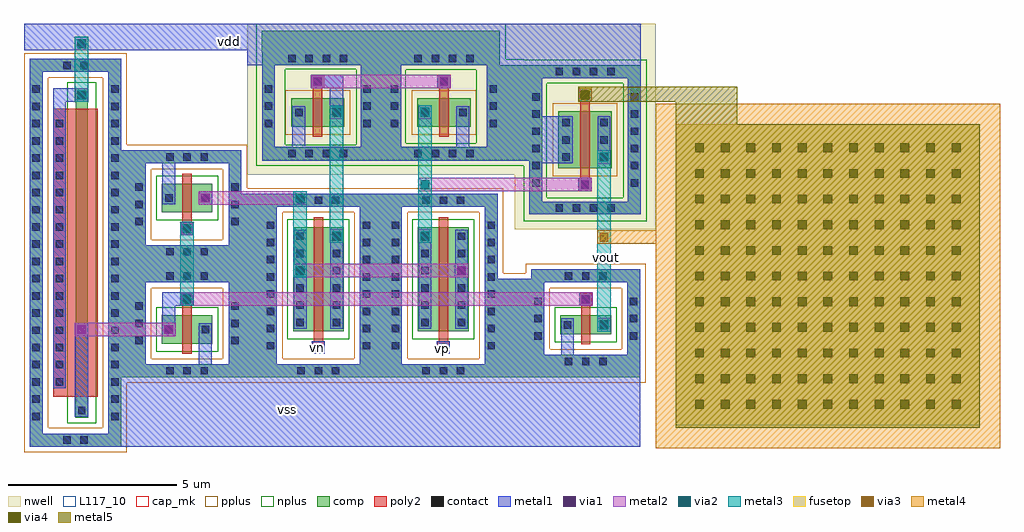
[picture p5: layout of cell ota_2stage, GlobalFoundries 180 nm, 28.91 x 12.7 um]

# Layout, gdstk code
from math import pi, radians
import gdstk
lib = gdstk.Library(unit=1e-6, precision=5e-09)
def R(c, l, rs):  # rectangles x0, y0, x1, y1
    for r in rs: c.add(gdstk.rectangle(r[:2], r[2:], *l))
def A(c, l, x, y, w, h, nx, ny, dx, dy):  # array of equal rectangles
    R(c, l, [(x+i*dx, y+j*dy, x+i*dx+w, y+j*dy+h) for i in range(nx) for j in range(ny)])
def P(c, l, *ps):  # polygons
    for p in ps: c.add(gdstk.Polygon(p, *l))
nwell = (21, 0)
comp = (22, 0)
poly2 = (30, 0)
pplus = (31, 0)
nplus = (32, 0)
contact = (33, 0)
metal1 = (34, 0)
via1 = (35, 0)
metal2 = (36, 0)
via2 = (38, 0)
via3 = (40, 0)
via4 = (41, 0)
metal3 = (42, 0)
metal4 = (46, 0)
fusetop = (75, 0)
metal5 = (81, 0)
cap_mk = (117, 5)
L117_10 = (117, 10)

nfet_26 = lib.new_cell('nfet$26')
R(nfet_26, comp, [(-0.42,-0.01,0,0.37), (8.92,-0.01,9.34,0.37), (0,0,8.92,0.36)])
P(nfet_26, comp, [(-1.28,-0.99),(-1.28,1.34),(-0.9,1.34),(-0.9,-0.61),(9.82,-0.61),(9.82,1.34),(-1.28,1.34),(-1.28,1.72),(10.2,1.72),(10.2,-0.99)])
R(nfet_26, poly2, [(0.19,-0.3,8.73,0.66), (0.19,0.66,8.73,1.02)])
P(nfet_26, pplus, [(-1.45,-1.16),(-1.45,1.17),(-0.73,1.17),(-0.73,-0.44),(9.65,-0.44),(9.65,1.17),(-1.45,1.17),(-1.45,1.89),(10.37,1.89),(10.37,-1.16)])
R(nfet_26, nplus, [(-0.59,-0.25,9.51,0.61)])
A(nfet_26, contact, -0.495, -0.91, 0.22, 0.22, 20, 2, 0.51, 2.33)
A(nfet_26, contact, 0.525, 0.73, 0.22, 0.22, 16, 1, 0.51, 0)
R(nfet_26, contact, [(-1.2,0,-0.98,0.22), (9.9,0,10.12,0.22), (-0.32,0.07,-0.1,0.29), (9.02,0.07,9.24,0.29), (-1.2,0.51,-0.98,0.73), (9.9,0.51,10.12,0.73)])
R(nfet_26, metal1, [(-0.4,-0.01,-0.02,0.37), (8.94,-0.01,9.32,0.37), (0.445,0.65,8.475,1.03)])

via_dev_77 = lib.new_cell('via_dev$77')
R(via_dev_77, metal1, [(0,0,0.4,0.4)])
R(via_dev_77, via1, [(0.07,0.07,0.33,0.33)])
R(via_dev_77, metal2, [(0,0,0.4,0.4)])
R(via_dev_77, via2, [(0.07,0.07,0.33,0.33)])
R(via_dev_77, metal3, [(0,0,0.4,0.4)])

via_dev_78 = lib.new_cell('via_dev$78')
R(via_dev_78, metal1, [(0,0,0.4,0.4)])
R(via_dev_78, via1, [(0.07,0.07,0.33,0.33)])
R(via_dev_78, metal2, [(0,0,0.4,0.4)])

nfet_27 = lib.new_cell('nfet$27')
R(nfet_27, comp, [(-0.42,0,0,3.08), (0,0,0.66,3.08), (0.66,0,1.08,3.08)])
P(nfet_27, comp, [(-1.28,-1.36),(-1.28,3.69),(-0.9,3.69),(-0.9,-0.98),(1.56,-0.98),(1.56,3.69),(-1.28,3.69),(-1.28,4.07),(1.94,4.07),(1.94,-1.36)])
R(nfet_27, poly2, [(0.15,-0.66,0.51,-0.3), (0.19,-0.3,0.47,3.38)])
P(nfet_27, pplus, [(-1.45,-1.53),(-1.45,3.52),(-0.73,3.52),(-0.73,-0.81),(1.39,-0.81),(1.39,3.52),(-1.45,3.52),(-1.45,4.24),(2.11,4.24),(2.11,-1.53)])
R(nfet_27, nplus, [(-0.59,-0.24,1.25,3.32)])
A(nfet_27, contact, -0.29, -1.28, 0.22, 0.22, 3, 2, 0.51, 5.05)
A(nfet_27, contact, -1.2, -0.54, 0.22, 0.22, 1, 8, 0, 0.51)
A(nfet_27, contact, 1.64, -0.54, 0.22, 0.22, 1, 8, 0, 0.51)
A(nfet_27, contact, -0.32, 0.155, 0.22, 0.22, 1, 6, 0, 0.51)
A(nfet_27, contact, 0.76, 0.155, 0.22, 0.22, 1, 6, 0, 0.51)
R(nfet_27, contact, [(0.22,-0.59,0.44,-0.37)])
R(nfet_27, metal1, [(0.14,-0.67,0.52,-0.29), (-0.4,0.075,-0.02,3.005), (0.68,0.075,1.06,3.005)])

nfet_28 = lib.new_cell('nfet$28')
R(nfet_28, comp, [(-0.42,0,0,0.84), (0,0,0.66,0.84), (0.66,0,1.08,0.84)])
P(nfet_28, comp, [(-1.28,-1.36),(-1.28,1.45),(-0.9,1.45),(-0.9,-0.98),(1.56,-0.98),(1.56,1.45),(-1.28,1.45),(-1.28,1.83),(1.94,1.83),(1.94,-1.36)])
R(nfet_28, poly2, [(0.15,-0.66,0.51,-0.3), (0.19,-0.3,0.47,1.14)])
P(nfet_28, pplus, [(-1.45,-1.53),(-1.45,1.28),(-0.73,1.28),(-0.73,-0.81),(1.39,-0.81),(1.39,1.28),(-1.45,1.28),(-1.45,2),(2.11,2),(2.11,-1.53)])
R(nfet_28, nplus, [(-0.59,-0.24,1.25,1.08)])
A(nfet_28, contact, -0.29, -1.28, 0.22, 0.22, 3, 2, 0.51, 2.81)
A(nfet_28, contact, -1.2, -0.385, 0.22, 0.22, 1, 3, 0, 0.51)
A(nfet_28, contact, 1.64, -0.385, 0.22, 0.22, 1, 3, 0, 0.51)
R(nfet_28, contact, [(0.22,-0.59,0.44,-0.37), (-0.32,0.31,-0.1,0.53), (0.76,0.31,0.98,0.53)])
R(nfet_28, metal1, [(0.14,-0.67,0.52,-0.29), (-0.4,0.23,-0.02,0.61), (0.68,0.23,1.06,0.61)])

nfet_29 = lib.new_cell('nfet$29')
R(nfet_29, comp, [(-0.42,0,0,0.84), (0,0,0.66,0.84), (0.66,0,1.08,0.84)])
P(nfet_29, comp, [(-1.28,-0.99),(-1.28,1.82),(-0.9,1.82),(-0.9,-0.61),(1.56,-0.61),(1.56,1.82),(-1.28,1.82),(-1.28,2.2),(1.94,2.2),(1.94,-0.99)])
R(nfet_29, poly2, [(0.19,-0.3,0.47,1.14), (0.15,1.14,0.51,1.5)])
P(nfet_29, pplus, [(-1.45,-1.16),(-1.45,1.65),(-0.73,1.65),(-0.73,-0.44),(1.39,-0.44),(1.39,1.65),(-1.45,1.65),(-1.45,2.37),(2.11,2.37),(2.11,-1.16)])
R(nfet_29, nplus, [(-0.59,-0.24,1.25,1.08)])
A(nfet_29, contact, -0.29, -0.91, 0.22, 0.22, 3, 2, 0.51, 2.81)
A(nfet_29, contact, -1.2, -0.015, 0.22, 0.22, 1, 3, 0, 0.51)
A(nfet_29, contact, 1.64, -0.015, 0.22, 0.22, 1, 3, 0, 0.51)
R(nfet_29, contact, [(-0.32,0.31,-0.1,0.53), (0.76,0.31,0.98,0.53), (0.22,1.21,0.44,1.43)])
R(nfet_29, metal1, [(-0.4,0.23,-0.02,0.61), (0.68,0.23,1.06,0.61), (0.14,1.13,0.52,1.51)])

via_dev_79 = lib.new_cell('via_dev$79')
R(via_dev_79, metal2, [(0,0,0.4,0.4)])
R(via_dev_79, via2, [(0.07,0.07,0.33,0.33)])
R(via_dev_79, metal3, [(0,0,0.4,0.4)])

pfet_16 = lib.new_cell('pfet$16')
R(pfet_16, nwell, [(-1.76,-1.43,2.42,2.65)])
R(pfet_16, comp, [(-0.46,0,0,0.84), (0,0,0.66,0.84), (0.66,0,1.12,0.84)])
P(pfet_16, comp, [(-1.32,-0.99),(-1.32,1.83),(-0.94,1.83),(-0.94,-0.61),(1.6,-0.61),(1.6,1.83),(-1.32,1.83),(-1.32,2.21),(1.98,2.21),(1.98,-0.99)])
R(pfet_16, poly2, [(0.19,-0.3,0.47,1.14), (0.14,1.14,0.52,1.52)])
R(pfet_16, pplus, [(-0.63,-0.24,1.29,1.08)])
A(pfet_16, contact, -0.545, -0.91, 0.22, 0.22, 4, 2, 0.51, 2.82)
A(pfet_16, contact, -1.24, -0.01, 0.22, 0.22, 1, 3, 0, 0.51)
A(pfet_16, contact, 1.68, -0.01, 0.22, 0.22, 1, 3, 0, 0.51)
R(pfet_16, contact, [(-0.34,0.31,-0.12,0.53), (0.78,0.31,1,0.53), (0.22,1.22,0.44,1.44)])
R(pfet_16, metal1, [(-0.42,0.23,-0.04,0.61), (0.7,0.23,1.08,0.61), (0.14,1.14,0.52,1.52)])

pfet_17 = lib.new_cell('pfet$17')
R(pfet_17, nwell, [(-1.76,-1.81,2.42,3.49)])
R(pfet_17, comp, [(-0.46,0,0,1.68), (0,0,0.66,1.68), (0.66,0,1.12,1.68)])
P(pfet_17, comp, [(-1.32,-1.37),(-1.32,2.67),(-0.94,2.67),(-0.94,-0.99),(1.6,-0.99),(1.6,2.67),(-1.32,2.67),(-1.32,3.05),(1.98,3.05),(1.98,-1.37)])
R(pfet_17, poly2, [(0.14,-0.68,0.52,-0.3), (0.19,-0.3,0.47,1.98), (0.14,1.98,0.52,2.36)])
R(pfet_17, pplus, [(-0.63,-0.24,1.29,1.92)])
A(pfet_17, contact, -0.545, -1.29, 0.22, 0.22, 4, 2, 0.51, 4.04)
A(pfet_17, contact, -1.24, -0.545, 0.22, 0.22, 1, 6, 0, 0.51)
A(pfet_17, contact, 1.68, -0.545, 0.22, 0.22, 1, 6, 0, 0.51)
A(pfet_17, contact, -0.34, 0.22, 0.22, 0.22, 1, 3, 0, 0.51)
A(pfet_17, contact, 0.78, 0.22, 0.22, 0.22, 1, 3, 0, 0.51)
R(pfet_17, contact, [(0.22,-0.6,0.44,-0.38), (0.22,2.06,0.44,2.28)])
R(pfet_17, metal1, [(0.14,-0.68,0.52,-0.3), (-0.42,0.14,-0.04,1.54), (0.7,0.14,1.08,1.54), (0.14,1.98,0.52,2.36)])

nfet_30 = lib.new_cell('nfet$30')
R(nfet_30, comp, [(-0.42,0,0,0.56), (0,0,0.66,0.56), (0.66,0,1.08,0.56)])
P(nfet_30, comp, [(-1.28,-0.99),(-1.28,1.54),(-0.9,1.54),(-0.9,-0.61),(1.56,-0.61),(1.56,1.54),(-1.28,1.54),(-1.28,1.92),(1.94,1.92),(1.94,-0.99)])
R(nfet_30, poly2, [(0.19,-0.3,0.47,0.86), (0.15,0.86,0.51,1.22)])
P(nfet_30, pplus, [(-1.45,-1.16),(-1.45,1.37),(-0.73,1.37),(-0.73,-0.44),(1.39,-0.44),(1.39,1.37),(-1.45,1.37),(-1.45,2.09),(2.11,2.09),(2.11,-1.16)])
R(nfet_30, nplus, [(-0.59,-0.24,1.25,0.8)])
A(nfet_30, contact, -0.29, -0.91, 0.22, 0.22, 3, 2, 0.51, 2.53)
A(nfet_30, contact, -1.2, -0.155, 0.22, 0.22, 1, 3, 0, 0.51)
A(nfet_30, contact, 1.64, -0.155, 0.22, 0.22, 1, 3, 0, 0.51)
R(nfet_30, contact, [(-0.32,0.17,-0.1,0.39), (0.76,0.17,0.98,0.39), (0.22,0.93,0.44,1.15)])
R(nfet_30, metal1, [(-0.4,0.09,-0.02,0.47), (0.68,0.09,1.06,0.47), (0.14,0.85,0.52,1.23)])

cap_mim_1 = lib.new_cell('cap_mim$1')
A(cap_mim_1, via4, 0.57, 0.57, 0.26, 0.26, 11, 11, 0.76, 0.76)
R(cap_mim_1, metal4, [(-0.6,-0.6,9.6,9.6)])
R(cap_mim_1, fusetop, [(0,0,9,9)])
R(cap_mim_1, metal5, [(0,0,9,9)])
R(cap_mim_1, cap_mk, [(-0.6,-0.6,9.6,9.6)])
R(cap_mim_1, L117_10, [(0,0,9,0.1)])

via_dev_80 = lib.new_cell('via_dev$80')
R(via_dev_80, metal1, [(0,0,0.4,0.4)])
R(via_dev_80, via1, [(0.07,0.07,0.33,0.33)])
R(via_dev_80, metal2, [(0,0,0.4,0.4)])
R(via_dev_80, via2, [(0.07,0.07,0.33,0.33)])
R(via_dev_80, via3, [(0.07,0.07,0.33,0.33)])
R(via_dev_80, via4, [(0.07,0.07,0.33,0.33)])
R(via_dev_80, metal3, [(0,0,0.4,0.4)])
R(via_dev_80, metal4, [(0,0,0.4,0.4)])
R(via_dev_80, metal5, [(0,0,0.4,0.4)])

via_dev_81 = lib.new_cell('via_dev$81')
R(via_dev_81, via3, [(0.07,0.07,0.33,0.33)])
R(via_dev_81, metal3, [(0,0,0.4,0.4)])
R(via_dev_81, metal4, [(0,0,0.4,0.4)])

ota_2stage = lib.new_cell('ota_2stage')
R(ota_2stage, nwell, [(3.9,6.43,7.64,6.855), (7.64,6.435,8.08,7.225)])
P(ota_2stage, nwell, [(3.58,2.745),(3.58,6.825),(-4.02,6.825),(-4.02,7.225),(7.64,7.225),(7.64,6.825),(3.7,6.825),(3.7,2.745)])
R(ota_2stage, comp, [(-7.75,-3.245,-7.41,3.47), (-4.19,-3.245,-3.52,2.185), (-0.3,-3.245,0.18,2.185), (3.4,-3.245,4.4,-0.335), (4.4,-3.245,7.62,-2.965), (-7.41,-0.055,-4.19,0.28), (3.46,3.185,4.34,5.995), (-0.28,3.195,0.16,6.395), (-3.58,6.3,3.46,6.715)])
P(ota_2stage, comp, [(-0.28,3.18),(-0.28,6.385),(-3.59,6.385),(-3.59,7.015),(3.46,7.015),(3.46,6.385),(0.4,6.385),(0.4,3.635),(0.44,3.635),(0.44,3.325),(3.46,3.325),(3.46,3.18)])
R(ota_2stage, pplus, [(-4.02,-3.415,-3.69,2.355), (-0.13,-3.415,0.01,2.355), (3.57,-3.415,4.23,-0.165), (4.23,-3.415,7.79,-3.135)])
R(ota_2stage, nplus, [(3.63,3.015,4.17,6.165)])
P(ota_2stage, nplus, [(-3.75,3.015),(-3.75,5.875),(-2.89,5.875),(-2.89,3.635),(-0.795,3.635),(-0.795,5.855),(0.675,5.855),(0.675,3.68),(2.77,3.68),(2.77,5.855),(-0.795,5.855),(-0.795,5.875),(-3.75,5.875),(-3.75,7.225),(3.635,7.225),(3.635,3.015)],
  [(4.17,1.38),(4.17,5.455),(4.86,5.455),(4.86,2.075),(7.125,2.075),(7.125,5.455),(4.17,5.455),(4.17,6.16),(7.82,6.16),(7.82,1.38)])
R(ota_2stage, metal1, [(-7.75,-5.3,-7.41,3.47), (-7.41,-5.3,3.4,-3.23), (3.375,-5.3,7.62,-2.965), (-9.12,-4.42,-8.73,-1.635), (3.375,-3.245,4.4,-0.335), (-4.19,-3.23,-3.52,2.185), (-5.45,-2.865,-5.07,-1.82), (5.28,-2.6,5.66,-1.765), (-6.53,2.035,-6.15,3.085), (4.72,3.085,5.415,4.485), (3.46,3.16,4.34,6.165), (-2.68,3.575,-2.3,4.52), (2.18,3.575,2.56,4.535), (-1.57,4.65,-1.17,5.715), (-1.815,5.315,-1.24,5.715), (-4.02,5.99,7.64,6.64), (4.34,5.995,7.64,6.435), (-10.63,6.435,7.64,7.225)])
P(ota_2stage, metal1, [(4.4,-2.965),(4.4,-0.435),(4.78,-0.435),(4.78,-2.585),(7.24,-2.585),(7.24,-0.435),(4.4,-0.435),(4.4,-0.055),(7.62,-0.055),(7.62,-2.965)],
  [(-6.53,-1.645),(-6.53,-0.735),(-5.99,-0.735),(-5.99,-1.135),(-6.15,-1.135),(-6.15,-1.645)],
  [(-7.41,-3.24),(-7.41,-0.43),(-7.03,-0.43),(-7.03,-2.865),(-4.57,-2.865),(-4.57,-0.435),(-7.41,-0.435),(-7.41,3.085),(-7.03,3.085),(-7.03,0.66),(-4.57,0.66),(-4.57,3.085),(-7.41,3.085),(-7.41,3.47),(-4.19,3.47),(-4.19,-3.24)],
  [(-3.52,-3.245),(-3.52,1.805),(-3.14,1.805),(-3.14,-2.865),(-0.68,-2.865),(-0.68,1.805),(0.56,1.805),(0.56,-2.865),(3.02,-2.865),(3.02,1.805),(-3.52,1.805),(-3.52,2.185),(3.4,2.185),(3.4,-3.245)],
  [(-3.58,3.16),(-3.58,6.015),(-3.2,6.015),(-3.2,3.575),(-0.66,3.575),(-0.66,6.015),(0.54,6.015),(0.54,3.575),(3.08,3.575),(3.08,6.015),(-3.58,6.015),(-3.58,6.395),(3.46,6.395),(3.46,3.16)],
  [(-9.77,4.455),(-9.77,5.31),(-9.12,5.31),(-9.12,4.91),(-9.39,4.91),(-9.39,4.455)],
  [(-10.46,-5.3),(-10.46,6.18),(-7.75,6.18),(-7.75,-5.3),(-10.08,-5.3),(-10.08,-4.92),(-8.13,-4.92),(-8.13,5.8),(-10.08,5.8),(-10.08,-5.3)],
  [(4.34,1.575),(4.34,5.615),(4.72,5.615),(4.72,1.955),(7.26,1.955),(7.26,5.615),(4.34,5.615),(4.34,5.995),(7.64,5.995),(7.64,1.575)])
R(ota_2stage, metal2, [(-9.1,-2.035,-6.415,-1.635), (-5.785,-1.135,5.98,-0.735), (-2.415,-0.29,2.35,0.11), (-5.46,1.86,-2.58,2.26), (1.285,2.255,5.98,2.655), (-1.73,5.315,1.61,5.715)])
R(ota_2stage, metal3, [(6.35,-1.575,6.75,3.305), (-6,-1.135,-5.6,1.165), (-2.65,-0.07,-2.25,2.105), (-1.57,0.89,-1.17,4.605), (1.05,0.89,1.45,4.58), (-9.12,5.08,-8.72,6.66)])
R(ota_2stage, metal4, [(6.555,0.7,8.08,1.1)])
R(ota_2stage, metal5, [(8.68,4.25,10.495,4.935), (5.79,4.915,10.495,5.355)])
ota_2stage.add(gdstk.Reference(nfet_26, (-8.74,-4.02), rotation=pi/2))
ota_2stage.add(gdstk.Reference(via_dev_77, (1.05,4.405)))
ota_2stage.add(gdstk.Reference(via_dev_77, (-1.57,4.4)))
ota_2stage.add(gdstk.Reference(via_dev_78, (-2.13,5.315)))
ota_2stage.add(gdstk.Reference(via_dev_78, (1.61,5.315)))
ota_2stage.add(gdstk.Reference(via_dev_77, (1.05,0.73)))
ota_2stage.add(gdstk.Reference(via_dev_77, (-1.57,0.73)))
ota_2stage.add(gdstk.Reference(nfet_27, (-2.24,-1.885)))
ota_2stage.add(gdstk.Reference(nfet_27, (1.46,-1.885)))
ota_2stage.add(gdstk.Reference(via_dev_78, (2.13,-0.29)))
ota_2stage.add(gdstk.Reference(nfet_28, (-6.13,1.64)))
ota_2stage.add(gdstk.Reference(via_dev_77, (-2.65,-0.29)))
ota_2stage.add(gdstk.Reference(via_dev_78, (-5.46,1.86)))
ota_2stage.add(gdstk.Reference(via_dev_77, (-6,0.96)))
ota_2stage.add(gdstk.Reference(nfet_29, (-6.13,-2.255)))
ota_2stage.add(gdstk.Reference(via_dev_77, (-8.72,4.91), rotation=pi/2))
ota_2stage.add(gdstk.Reference(via_dev_77, (-9.12,6.435)))
ota_2stage.add(gdstk.Reference(via_dev_78, (-6.54,-2.035)))
ota_2stage.add(gdstk.Reference(via_dev_79, (-2.65,1.86)))
ota_2stage.add(gdstk.Reference(pfet_16, (1.48,4.175)))
ota_2stage.add(gdstk.Reference(pfet_16, (-2.26,4.175)))
ota_2stage.add(gdstk.Reference(pfet_17, (5.66,2.945)))
ota_2stage.add(gdstk.Reference(via_dev_77, (6.35,-1.895)))
ota_2stage.add(gdstk.Reference(via_dev_78, (5.81,-1.135)))
ota_2stage.add(gdstk.Reference(nfet_30, (5.68,-1.975)))
r = gdstk.Reference(cap_mim_1, (8.68,-4.75)); r.repetition = gdstk.Repetition(1, 1, v1=(0,0), v2=(0,0)); ota_2stage.add(r)
ota_2stage.add(gdstk.Reference(via_dev_77, (6.35,3.075)))
ota_2stage.add(gdstk.Reference(via_dev_78, (5.79,2.255)))
ota_2stage.add(gdstk.Reference(via_dev_80, (5.79,4.915)))
ota_2stage.add(gdstk.Reference(via_dev_81, (6.35,0.7)))
ota_2stage.add(gdstk.Reference(via_dev_79, (1.05,2.255)))
ota_2stage.add(gdstk.Reference(via_dev_77, (-6,-1.135)))
ota_2stage.add(gdstk.Reference(via_dev_78, (-8.72,-2.035), rotation=pi/2))
ota_2stage.add(gdstk.Label('vdd', (-4.545,6.695), layer=34, texttype=10))
ota_2stage.add(gdstk.Label('vp', (1.78,-2.385), layer=34, texttype=10))
ota_2stage.add(gdstk.Label('vn', (-1.925,-2.375), layer=34, texttype=10))
ota_2stage.add(gdstk.Label('vss', (-2.815,-4.215), layer=34, texttype=10))
ota_2stage.add(gdstk.Label('vout', (6.635,0.295), layer=42, texttype=10))

lib.write_gds('ota_2stage.gds')
